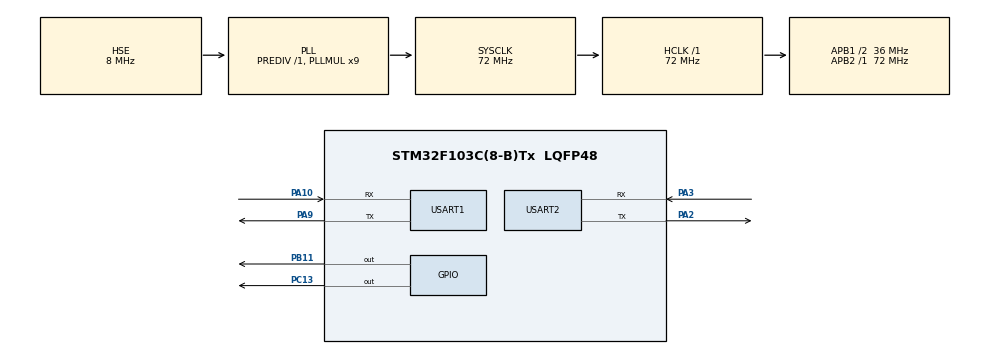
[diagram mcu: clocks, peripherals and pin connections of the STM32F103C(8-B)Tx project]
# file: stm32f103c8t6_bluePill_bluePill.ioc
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Mcu.Family=STM32F1
Mcu.Name=STM32F103C(8-B)Tx
Mcu.Package=LQFP48
NVIC.PriorityGroup=NVIC_PRIORITYGROUP_4
NVIC.USART1_IRQn=true\:0\:0\:false\:false\:true\:true
NVIC.USART2_IRQn=true\:0\:0\:false\:false\:true\:true
PA10.Mode=Asynchronous
PA10.Signal=USART1_RX
PA13.Mode=Serial_Wire
PA13.Signal=SYS_JTMS-SWDIO
PA14.Mode=Serial_Wire
PA14.Signal=SYS_JTCK-SWCLK
PA2.Mode=Asynchronous
PA2.Signal=USART2_TX
PA3.Mode=Asynchronous
PA3.Signal=USART2_RX
PA9.Mode=Asynchronous
PA9.Signal=USART1_TX
PB11.GPIO_Speed=GPIO_SPEED_FREQ_HIGH
PB11.PinState=GPIO_PIN_SET
PB11.Signal=GPIO_Output
PC13-TAMPER-RTC.GPIO_Speed=GPIO_SPEED_FREQ_HIGH
PC13-TAMPER-RTC.PinState=GPIO_PIN_SET
PC13-TAMPER-RTC.Signal=GPIO_Output
PC14-OSC32_IN.Mode=LSE-External-Oscillator
PC14-OSC32_IN.Signal=RCC_OSC32_IN
PC15-OSC32_OUT.Mode=LSE-External-Oscillator
PC15-OSC32_OUT.Signal=RCC_OSC32_OUT
PD0-OSC_IN.Mode=HSE-External-Oscillator
PD0-OSC_IN.Signal=RCC_OSC_IN
PD1-OSC_OUT.Mode=HSE-External-Oscillator
PD1-OSC_OUT.Signal=RCC_OSC_OUT
ProjectManager.HeapSize=0x200
ProjectManager.StackSize=0x400
ProjectManager.TargetToolchain=MDK-ARM V5
RCC.AHBFreq_Value=72000000
RCC.APB1CLKDivider=RCC_HCLK_DIV2
RCC.APB1Freq_Value=36000000
RCC.APB1TimFreq_Value=72000000
RCC.APB2Freq_Value=72000000
RCC.APB2TimFreq_Value=72000000
RCC.HCLKFreq_Value=72000000
RCC.PLLMUL=RCC_PLL_MUL9
RCC.PLLSourceVirtual=RCC_PLLSOURCE_HSE
RCC.SYSCLKFreq_VALUE=72000000
RCC.SYSCLKSource=RCC_SYSCLKSOURCE_PLLCLK
RCC.USBFreq_Value=72000000
USART1.VirtualMode=VM_ASYNC
USART2.VirtualMode=VM_ASYNC
board=stm32f103c8t6_bluePill_bluePill

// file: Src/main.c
/**
  ******************************************************************************
  * @file           : main.c
  * @brief          : Main program body
  ******************************************************************************
  ** This notice applies to any and all portions of this file
  * that are not between comment pairs USER CODE BEGIN and
  * USER CODE END. Other portions of this file, whether
  * inserted by the user or by software development tools
  * are owned by their respective copyright owners.
  *
  * COPYRIGHT(c) 2018 STMicroelectronics
  *
  * Redistribution and use in source and binary forms, with or without modification,
  * are permitted provided that the following conditions are met:
  *   1. Redistributions of source code must retain the above copyright notice,
  *      this list of conditions and the following disclaimer.
  *   2. Redistributions in binary form must reproduce the above copyright notice,
  *      this list of conditions and the following disclaimer in the documentation
  *      and/or other materials provided with the distribution.
  *   3. Neither the name of STMicroelectronics nor the names of its contributors
  *      may be used to endorse or promote products derived from this software
  *      without specific prior written permission.
  *
  * THIS SOFTWARE IS PROVIDED BY THE COPYRIGHT HOLDERS AND CONTRIBUTORS "AS IS"
  * AND ANY EXPRESS OR IMPLIED WARRANTIES, INCLUDING, BUT NOT LIMITED TO, THE
  * IMPLIED WARRANTIES OF MERCHANTABILITY AND FITNESS FOR A PARTICULAR PURPOSE ARE
  * DISCLAIMED. IN NO EVENT SHALL THE COPYRIGHT HOLDER OR CONTRIBUTORS BE LIABLE
  * FOR ANY DIRECT, INDIRECT, INCIDENTAL, SPECIAL, EXEMPLARY, OR CONSEQUENTIAL
  * DAMAGES (INCLUDING, BUT NOT LIMITED TO, PROCUREMENT OF SUBSTITUTE GOODS OR
  * SERVICES; LOSS OF USE, DATA, OR PROFITS; OR BUSINESS INTERRUPTION) HOWEVER
  * CAUSED AND ON ANY THEORY OF LIABILITY, WHETHER IN CONTRACT, STRICT LIABILITY,
  * OR TORT (INCLUDING NEGLIGENCE OR OTHERWISE) ARISING IN ANY WAY OUT OF THE USE
  * OF THIS SOFTWARE, EVEN IF ADVISED OF THE POSSIBILITY OF SUCH DAMAGE.
  *
  ******************************************************************************
  */
#include "main.h"
#include "stm32f1xx_hal.h"

UART_HandleTypeDef huart1;
UART_HandleTypeDef huart2;

/* USER CODE BEGIN PV */
/* Private variables ---------------------------------------------------------*/

/* USER CODE END PV */

void SystemClock_Config(void);
static void MX_GPIO_Init(void);
static void MX_USART1_UART_Init(void);
static void MX_USART2_UART_Init(void);

/* USER CODE BEGIN PFP */
/* Private function prototypes -----------------------------------------------*/
char *str="hello, this is from USART1\r\n";
uint8_t rxNumber=0;
/* USER CODE END PFP */

int main(void)
{

  /* MCU Configuration----------------------------------------------------------*/

  /* Reset of all peripherals, Initializes the Flash interface and the Systick. */
  HAL_Init();

  /* Configure the system clock */
  SystemClock_Config();

  /* Initialize all configured peripherals */
  MX_GPIO_Init();
  MX_USART1_UART_Init();
  MX_USART2_UART_Init();
  /* USER CODE BEGIN 2 */

	HAL_UART_Transmit_IT(&huart1,(uint8_t *)str,30 );

	if(HAL_UART_Receive_IT(&huart1,(uint8_t *)&rxNumber,1)!=HAL_OK){
		HAL_UART_Transmit(&huart1,(uint8_t *)&"usart1 ERROR\r\n",7,10);

	}
		if(HAL_UART_Receive_IT(&huart2,(uint8_t *)&rxNumber,1)!=HAL_OK){
		HAL_UART_Transmit(&huart1,(uint8_t *)&"usart2 ERROR\r\n",7,10);

	}
  /* USER CODE END 2 */

  /* Infinite loop */
  while (1)
  {

  /* USER CODE BEGIN 3 */

HAL_Delay(1000);
		HAL_GPIO_TogglePin(GPIOB,GPIO_PIN_11);

  }
  /* USER CODE END 3 */

}

void SystemClock_Config(void)
{

  RCC_OscInitTypeDef RCC_OscInitStruct;
  RCC_ClkInitTypeDef RCC_ClkInitStruct;

    /**Initializes the CPU, AHB and APB busses clocks
    */
  RCC_OscInitStruct.OscillatorType = RCC_OSCILLATORTYPE_HSE;
  RCC_OscInitStruct.HSEState = RCC_HSE_ON;
  RCC_OscInitStruct.HSEPredivValue = RCC_HSE_PREDIV_DIV1;
  RCC_OscInitStruct.HSIState = RCC_HSI_ON;
  RCC_OscInitStruct.PLL.PLLState = RCC_PLL_ON;
  RCC_OscInitStruct.PLL.PLLSource = RCC_PLLSOURCE_HSE;
  RCC_OscInitStruct.PLL.PLLMUL = RCC_PLL_MUL9;
  if (HAL_RCC_OscConfig(&RCC_OscInitStruct) != HAL_OK)
  {
    _Error_Handler(__FILE__, __LINE__);
  }

    /**Initializes the CPU, AHB and APB busses clocks
    */
  RCC_ClkInitStruct.ClockType = RCC_CLOCKTYPE_HCLK|RCC_CLOCKTYPE_SYSCLK
                              |RCC_CLOCKTYPE_PCLK1|RCC_CLOCKTYPE_PCLK2;
  RCC_ClkInitStruct.SYSCLKSource = RCC_SYSCLKSOURCE_PLLCLK;
  RCC_ClkInitStruct.AHBCLKDivider = RCC_SYSCLK_DIV1;
  RCC_ClkInitStruct.APB1CLKDivider = RCC_HCLK_DIV2;
  RCC_ClkInitStruct.APB2CLKDivider = RCC_HCLK_DIV1;

  if (HAL_RCC_ClockConfig(&RCC_ClkInitStruct, FLASH_LATENCY_2) != HAL_OK)
  {
    _Error_Handler(__FILE__, __LINE__);
  }

    /**Configure the Systick interrupt time
    */
  HAL_SYSTICK_Config(HAL_RCC_GetHCLKFreq()/1000);

    /**Configure the Systick
    */
  HAL_SYSTICK_CLKSourceConfig(SYSTICK_CLKSOURCE_HCLK);

  /* SysTick_IRQn interrupt configuration */
  HAL_NVIC_SetPriority(SysTick_IRQn, 0, 0);
}

/* USART1 init function */
static void MX_USART1_UART_Init(void)
{

  huart1.Instance = USART1;
  huart1.Init.BaudRate = 115200;
  huart1.Init.WordLength = UART_WORDLENGTH_8B;
  huart1.Init.StopBits = UART_STOPBITS_1;
  huart1.Init.Parity = UART_PARITY_NONE;
  huart1.Init.Mode = UART_MODE_TX_RX;
  huart1.Init.HwFlowCtl = UART_HWCONTROL_NONE;
  huart1.Init.OverSampling = UART_OVERSAMPLING_16;
  if (HAL_UART_Init(&huart1) != HAL_OK)
  {
    _Error_Handler(__FILE__, __LINE__);
  }

}

/* USART2 init function */
static void MX_USART2_UART_Init(void)
{

  huart2.Instance = USART2;
  huart2.Init.BaudRate = 115200;
  huart2.Init.WordLength = UART_WORDLENGTH_8B;
  huart2.Init.StopBits = UART_STOPBITS_1;
  huart2.Init.Parity = UART_PARITY_NONE;
  huart2.Init.Mode = UART_MODE_TX_RX;
  huart2.Init.HwFlowCtl = UART_HWCONTROL_NONE;
  huart2.Init.OverSampling = UART_OVERSAMPLING_16;
  if (HAL_UART_Init(&huart2) != HAL_OK)
  {
    _Error_Handler(__FILE__, __LINE__);
  }

}

/** Configure pins as
        * Analog
        * Input
        * Output
        * EVENT_OUT
        * EXTI
*/
static void MX_GPIO_Init(void)
{

  GPIO_InitTypeDef GPIO_InitStruct;

  /* GPIO Ports Clock Enable */
  __HAL_RCC_GPIOC_CLK_ENABLE();
  __HAL_RCC_GPIOD_CLK_ENABLE();
  __HAL_RCC_GPIOA_CLK_ENABLE();
  __HAL_RCC_GPIOB_CLK_ENABLE();

  /*Configure GPIO pin Output Level */
  HAL_GPIO_WritePin(GPIOC, GPIO_PIN_13, GPIO_PIN_SET);

  /*Configure GPIO pin Output Level */
  HAL_GPIO_WritePin(GPIOB, GPIO_PIN_11, GPIO_PIN_SET);

  /*Configure GPIO pin : PC13 */
  GPIO_InitStruct.Pin = GPIO_PIN_13;
  GPIO_InitStruct.Mode = GPIO_MODE_OUTPUT_PP;
  GPIO_InitStruct.Speed = GPIO_SPEED_FREQ_HIGH;
  HAL_GPIO_Init(GPIOC, &GPIO_InitStruct);

  /*Configure GPIO pin : PB11 */
  GPIO_InitStruct.Pin = GPIO_PIN_11;
  GPIO_InitStruct.Mode = GPIO_MODE_OUTPUT_PP;
  GPIO_InitStruct.Speed = GPIO_SPEED_FREQ_HIGH;
  HAL_GPIO_Init(GPIOB, &GPIO_InitStruct);

}

/* USER CODE BEGIN 4 */
void HAL_UART_RxCpltCallback(UART_HandleTypeDef *huart){
	//HAL_UART_Transmit (&huart1,(uint8_t *)&"get from HAL_UART_RxCpltCallback\r\n",32);

	HAL_UART_Transmit (&huart1,(uint8_t *)&rxNumber,1,0xffff);

	if(huart == &huart2){
		switch(rxNumber ){
		case '0':
			 HAL_GPIO_WritePin(GPIOC,GPIO_PIN_13,GPIO_PIN_RESET);
		break;
		default:
				HAL_GPIO_WritePin(GPIOC,GPIO_PIN_13,GPIO_PIN_SET);
			break;
	}
	}

//	switch(rxNumber ){
//		case '0':
//			 HAL_GPIO_WritePin(GPIOC,GPIO_PIN_13,GPIO_PIN_RESET);
//		break;
//		default:
//				HAL_GPIO_WritePin(GPIOC,GPIO_PIN_13,GPIO_PIN_SET);
//			break;
//	}
	//reopen
	HAL_UART_Receive_IT(&huart1,(uint8_t *)&rxNumber,1);
		HAL_UART_Receive_IT(&huart2,(uint8_t *)&rxNumber,1);

}

/* USER CODE END 4 */

void _Error_Handler(char *file, int line)
{
  while(1)
  {
  }
}

/************************ (C) COPYRIGHT STMicroelectronics *****END OF FILE****/
